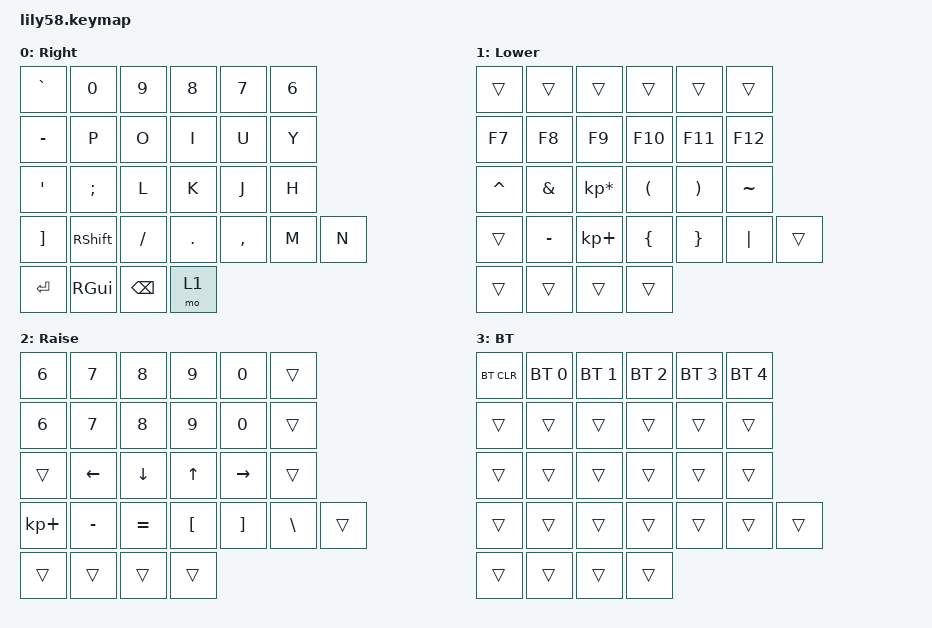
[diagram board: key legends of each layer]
/*
 * Copyright (c) 2020 The ZMK Contributors
 *
 * SPDX-License-Identifier: MIT
 */

#include <behaviors.dtsi>
#include <dt-bindings/zmk/keys.h>
#include <dt-bindings/zmk/bt.h>

/ {
    keymap {
        compatible = "zmk,keymap";

        default_layer {
// Physical right side key positions (mirrored from left)
// When looking at right side, from left to right on each row:
// Row 0: 6 7 8 9 0 `
// Row 1: Y U I O P -  
// Row 2: H J K L ; '
// Row 3: N M , . / SHIFT ]
// Row 4:   RAISE BSPC GUI ENTER

            display-name = "Right";
            bindings = <
&kp GRAVE &kp N0   &kp N9    &kp N8   &kp N7   &kp N6
&kp MINUS &kp P    &kp O     &kp I    &kp U    &kp Y
&kp SQT   &kp SEMI &kp L     &kp K    &kp J    &kp H
&kp RBKT  &kp RSHFT &kp FSLH &kp DOT  &kp COMMA &kp M &kp N
&kp RET   &kp RGUI &kp BSPC  &mo 1
            >;
        };

        lower_layer {
// Right side of your lower layer
            display-name = "Lower";
            bindings = <
&trans    &trans    &trans          &trans    &trans    &trans
&kp F7    &kp F8    &kp F9          &kp F10   &kp F11   &kp F12
&kp CARET &kp AMPS  &kp KP_MULTIPLY &kp LPAR  &kp RPAR  &kp TILDE
&trans    &kp MINUS &kp KP_PLUS     &kp LBRC  &kp RBRC  &kp PIPE &trans
                    &trans          &trans    &trans    &trans
            >;
        };

        raise_layer {
// Right side of your raise layer
            display-name = "Raise";
            bindings = <
&kp N6      &kp N7    &kp N8    &kp N9   &kp N0    &trans
&kp N6      &kp N7    &kp N8    &kp N9   &kp N0    &trans
&trans      &kp LEFT  &kp DOWN  &kp UP   &kp RIGHT &trans
&kp KP_PLUS &kp MINUS &kp EQUAL &kp LBKT &kp RBKT  &kp BSLH &trans
                      &trans    &trans   &trans    &trans
            >;
        };

        bt_layer {
// Bluetooth controls for the right side
            display-name = "BT";
            bindings = <
&bt BT_CLR   &bt BT_SEL 0 &bt BT_SEL 1 &bt BT_SEL 2 &bt BT_SEL 3 &bt BT_SEL 4
&trans       &trans       &trans       &trans       &trans       &trans
&trans       &trans       &trans       &trans       &trans       &trans
&trans       &trans       &trans       &trans       &trans       &trans       &trans
                          &trans       &trans       &trans       &trans
            >;
        };
    };
};;
